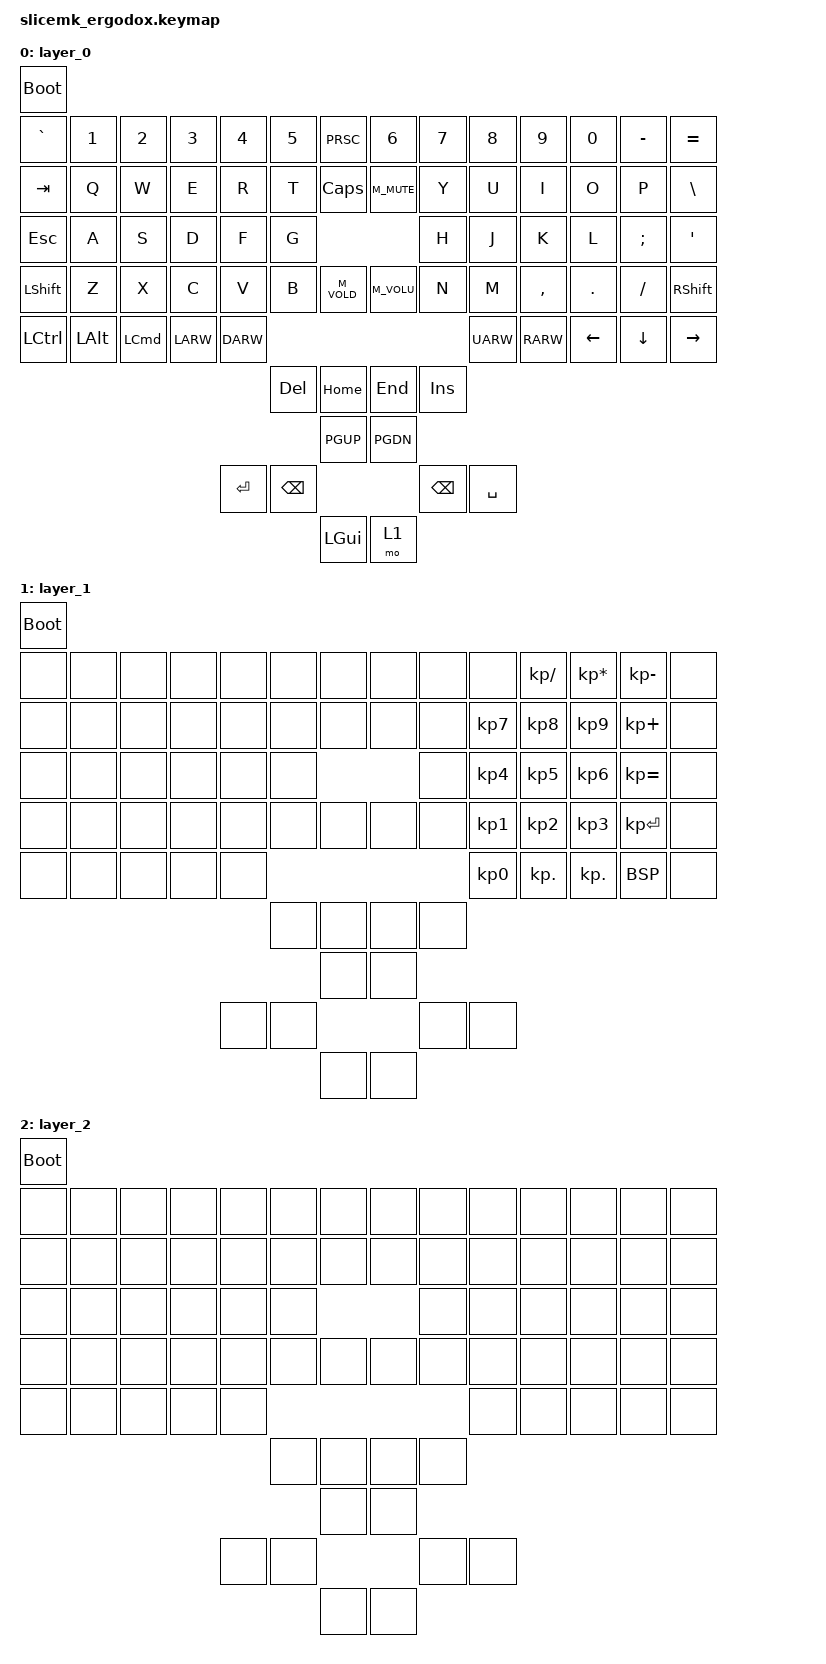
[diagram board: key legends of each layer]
#include <behaviors.dtsi>
#include <dt-bindings/zmk/bt.h>
#include <dt-bindings/zmk/keys.h>
#include <dt-bindings/zmk/outputs.h>

/ {
        keymap {
                compatible = "zmk,keymap";

                layer_0 {
                        bindings = <
    &bootloader
    &kp GRAV   &kp NUM_1  &kp NUM_2  &kp NUM_3  &kp NUM_4  &kp NUM_5  &kp PRSC   &kp NUM_6  &kp NUM_7  &kp NUM_8  &kp NUM_9  &kp NUM_0  &kp MINUS  &kp EQUAL
    &kp TAB    &kp Q      &kp W      &kp E      &kp R      &kp T      &kp CLCK   &kp M_MUTE &kp Y      &kp U      &kp I      &kp O      &kp P      &kp BSLH
    &kp ESC    &kp A      &kp S      &kp D      &kp F      &kp G                            &kp H      &kp J      &kp K      &kp L      &kp SCLN   &kp APOS
    &kp LSHFT  &kp Z      &kp X      &kp C      &kp V      &kp B      &kp M_VOLD &kp M_VOLU &kp N      &kp M      &kp CMMA   &kp DOT    &kp FSLH   &kp RSHFT
    &kp LCTRL  &kp LALT   &kp LCMD   &kp LARW   &kp DARW                                               &kp UARW   &kp RARW   &kp LEFT   &kp DOWN   &kp RIGHT
                                                           &kp DEL    &kp HOME   &kp END    &kp INS
                                                                      &kp PGUP   &kp PGDN
                                                &kp RET    &kp BKSP                         &kp BKSP   &kp SPC
                                                                      &kp LGUI   &mo 1
                        >;
                };

                layer_1 {
                        bindings = <
    &bootloader
    &none      &none      &none      &none      &none      &none      &none      &none      &none      &none      &kp KP_DIVIDE &kp KP_MULTIPLY &kp KP_MINUS  &none
    &none      &none      &none      &none      &none      &none      &none      &none      &none      &kp KP_N7  &kp KP_N8     &kp KP_N9       &kp KP_PLUS   &none
    &none      &none      &none      &none      &none      &none                            &none      &kp KP_N4  &kp KP_N5     &kp KP_N6       &kp KP_EQUAL  &none
    &none      &none      &none      &none      &none      &none      &none      &none      &none      &kp KP_N1  &kp KP_N2     &kp KP_N3       &kp KP_ENTER  &none
    &none      &none      &none      &none      &none                                                  &kp KP_N0  &kp KP_DOT    &kp KP_DOT      &kp BSP       &none
                                                           &none      &none      &none      &none
                                                                      &none      &none
                                                &none      &none                            &none      &none
                                                                      &none      &none
                        >;
                };

                layer_2 {
                        bindings = <
    &bootloader
    &none      &none      &none      &none      &none      &none      &none      &none      &none      &none      &none      &none      &none      &none
    &none      &none      &none      &none      &none      &none      &none      &none      &none      &none      &none      &none      &none      &none
    &none      &none      &none      &none      &none      &none                            &none      &none      &none      &none      &none      &none
    &none      &none      &none      &none      &none      &none      &none      &none      &none      &none      &none      &none      &none      &none
    &none      &none      &none      &none      &none                                                  &none      &none      &none      &none      &none
                                                           &none      &none      &none      &none
                                                                      &none      &none
                                                &none      &none                            &none      &none
                                                                      &none      &none
                        >;
                };

        };
};
